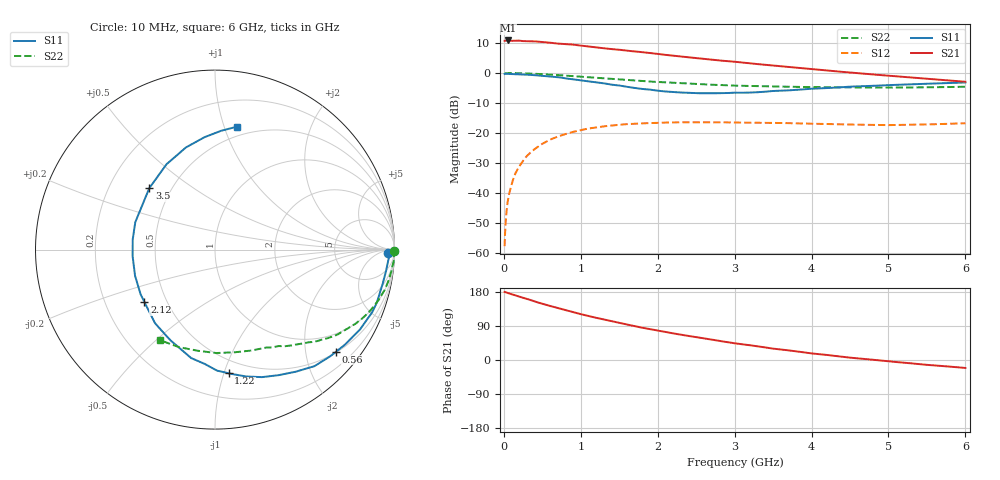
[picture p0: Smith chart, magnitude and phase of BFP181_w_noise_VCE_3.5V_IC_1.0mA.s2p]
! Infineon Technologies  Discrete & RF Semiconductors
! BFP181
! VCE = 3.5 V,  IC =  1.0 mA
! Common Emitter S-Parameters:  Jan 2016
# GHz  S  MA  R  50
!  f  S11  S21  S12  S22
! GHz  MAG  ANG  MAG  ANG  MAG  ANG  MAG  ANG
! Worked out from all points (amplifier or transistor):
!   210 points, 10 MHz to 6 GHz, reference 50 ohm
!   highest |S21| = 10.8 dB at 50 MHz (marker M1)
!   |S21| within 3 dB of that: start of sweep to 1.456 GHz
!   unconditionally stable (mu >= 1): 3.077 GHz to end of sweep
!   at 185 MHz: K = 0.08, MSG = 21.3 dB, |S12| = -31.8 dB
!   at 1.52 GHz: K = 0.52, MSG = 12.5 dB, |S12| = -17.2 dB
!   at 6 GHz: K = 1.29, MAG = 3.7 dB, |S12| = -16.8 dB
!   lowest NFmin = 1.30 dB at 450 MHz
!   S11 on the Smith chart (normalised r, x): 10 MHz: 45, -22; 560 MHz: 0.52, -2.65; 1.22 GHz: 0.39, -1.04; 2.12 GHz: 0.38, -0.29; 3.5 GHz: 0.38, +0.35; 6 GHz: 0.42, +1.10
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0.01  0.9645 -1.0  3.445 179.6  0.0013 86.0  0.9985 -0.3
0.015  0.9688 -1.3  3.455 179.4  0.002 91.1  0.9955 -0.4
0.025  0.9721 -1.9  3.469 178.8  0.0034 92.1  0.9932 -0.8
0.05  0.9673 -3.5  3.485 176.8  0.0072 89.4  0.9962 -1.8
0.13  0.9562 -9.4  3.439 171.8  0.0182 82.2  0.9955 -4.4
0.22  0.9488 -16.1  3.434 165.9  0.0304 79.3  0.9884 -7.5
0.4  0.9222 -28.9  3.373 154.5  0.0538 71.1  0.9715 -13.4
0.56  0.8823 -40.1  3.232 144.9  0.0727 63.5  0.9475 -18.2
0.8  0.8157 -56.5  3.047 131.4  0.0959 53.7  0.9065 -24.9
0.9  0.784 -63.2  2.971 125.9  0.1043 49.8  0.8866 -27.6
1.02  0.7505 -71.0  2.843 120.0  0.1128 45.4  0.8633 -30.3
1.22  0.6933 -83.7  2.653 110.5  0.1251 38.8  0.829 -34.9
1.5  0.6186 -102.4  2.444 97.8  0.1372 31.3  0.7796 -40.0
1.66  0.5726 -112.8  2.316 91.1  0.1416 27.5  0.755 -42.7
2.02  0.5039 -136.8  2.06 77.0  0.1486 20.1  0.7063 -48.1
2.12  0.4897 -143.5  1.993 73.3  0.1494 18.3  0.6946 -49.7
2.6  0.4605 -175.6  1.72 57.1  0.1508 10.9  0.6438 -56.6
3.1  0.4691 156.0  1.492 41.6  0.149 5.2  0.6114 -63.9
3.5  0.5012 136.9  1.334 30.0  0.1478 2.0  0.5979 -70.1
4.1  0.5532 116.7  1.132 15.4  0.1419 -1.1  0.5799 -81.1
5.1  0.6347 93.6  0.881 -5.3  0.136 -0.7  0.5716 -101.8
6  0.6948 80.0  0.714 -21.0  0.1453 1.6  0.5906 -121.3
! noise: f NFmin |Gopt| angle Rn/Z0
0.45  1.3  0.7  18  0.5
0.9  1.4  0.6  39  0.52
1.8  1.85  0.4  81  0.47
